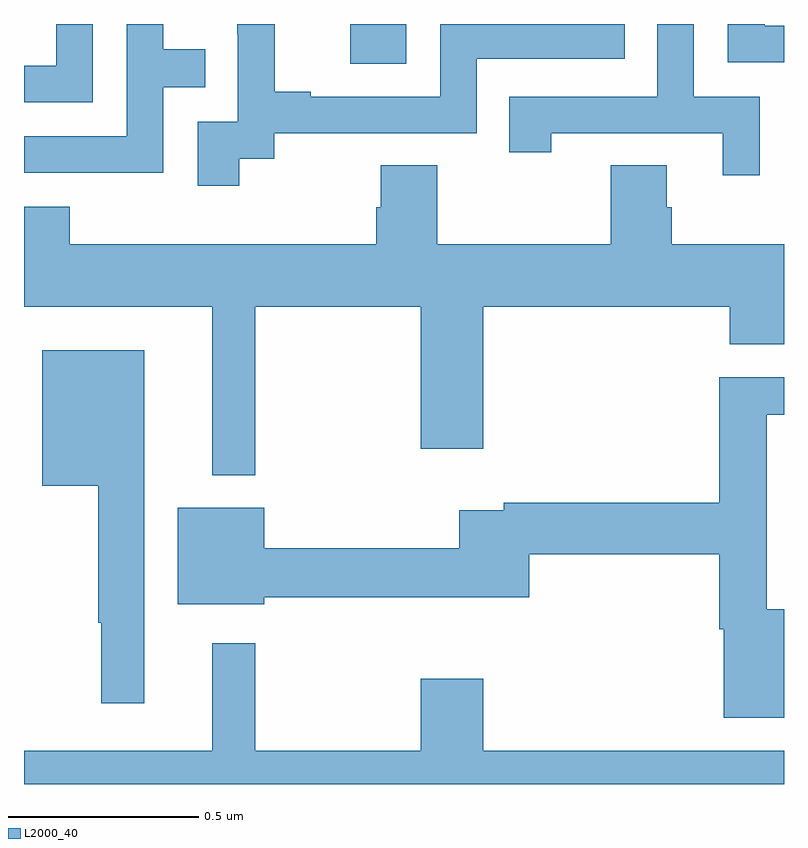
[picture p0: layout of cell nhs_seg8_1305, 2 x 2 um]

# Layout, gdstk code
import gdstk
lib = gdstk.Library(unit=1e-6, precision=1e-09)
def R(c, l, rs):  # rectangles x0, y0, x1, y1
    for r in rs: c.add(gdstk.rectangle(r[:2], r[2:], *l))
def P(c, l, *ps):  # polygons
    for p in ps: c.add(gdstk.Polygon(p, *l))
L2000_40 = (2000, 40)

nhs_seg8_1305 = lib.new_cell('nhs_seg8_1305')
R(nhs_seg8_1305, L2000_40, [(128.858,1127.796,129.006,1127.9)])
P(nhs_seg8_1305, L2000_40, [(128.367,1127.733),(128.477,1127.733),(128.477,1127.834),(128.367,1127.834),(128.367,1127.9),(128.271,1127.9),(128.271,1127.604),(128,1127.604),(128,1127.508),(128.367,1127.508)],
  [(129.936,1127.709),(129.762,1127.709),(129.762,1127.9),(129.666,1127.9),(129.666,1127.709),(129.277,1127.709),(129.277,1127.562),(129.388,1127.562),(129.388,1127.613),(129.839,1127.613),(129.839,1127.502),(129.936,1127.502)],
  [(128.566,1127.545),(128.658,1127.545),(128.658,1127.613),(129.192,1127.613),(129.192,1127.808),(129.581,1127.808),(129.581,1127.9),(129.096,1127.9),(129.096,1127.709),(128.755,1127.709),(128.755,1127.722),(128.66,1127.722),(128.66,1127.9),(128.561,1127.9),(128.561,1127.873),(128.562,1127.873),(128.562,1127.643),(128.457,1127.643),(128.457,1127.475),(128.566,1127.475)],
  [(130,1127.895),(129.949,1127.895),(129.949,1127.9),(129.852,1127.9),(129.852,1127.799),(130,1127.799)],
  [(128.181,1127.9),(128.085,1127.9),(128.085,1127.79),(128,1127.79),(128,1127.694),(128.181,1127.694)],
  [(128.609,1127.156),(129.044,1127.156),(129.044,1126.782),(129.208,1126.782),(129.208,1127.156),(129.857,1127.156),(129.857,1127.057),(130,1127.057),(130,1127.32),(129.704,1127.32),(129.704,1127.418),(129.691,1127.418),(129.691,1127.528),(129.544,1127.528),(129.544,1127.32),(129.087,1127.32),(129.087,1127.528),(128.939,1127.528),(128.939,1127.418),(128.927,1127.418),(128.927,1127.32),(128.12,1127.32),(128.12,1127.419),(128,1127.419),(128,1127.156),(128.495,1127.156),(128.495,1126.712),(128.609,1126.712)],
  [(128.317,1127.041),(128.048,1127.041),(128.048,1126.685),(128.196,1126.685),(128.196,1126.325),(128.203,1126.325),(128.203,1126.113),(128.317,1126.113)],
  [(130,1126.36),(129.955,1126.36),(129.955,1126.872),(130,1126.872),(130,1126.97),(129.83,1126.97),(129.83,1126.64),(129.262,1126.64),(129.262,1126.62),(129.146,1126.62),(129.146,1126.52),(128.632,1126.52),(128.632,1126.627),(128.405,1126.627),(128.405,1126.373),(128.632,1126.373),(128.632,1126.392),(128.94,1126.392),(128.94,1126.391),(129.329,1126.391),(129.329,1126.504),(129.83,1126.504),(129.83,1126.307),(129.842,1126.307),(129.842,1126.074),(130,1126.074)],
  [(130,1125.988),(129.208,1125.988),(129.208,1126.177),(129.044,1126.177),(129.044,1125.988),(128.609,1125.988),(128.609,1126.27),(128.495,1126.27),(128.495,1125.988),(128,1125.988),(128,1125.9),(130,1125.9)])

lib.write_gds('nhs_seg8_1305.gds')
